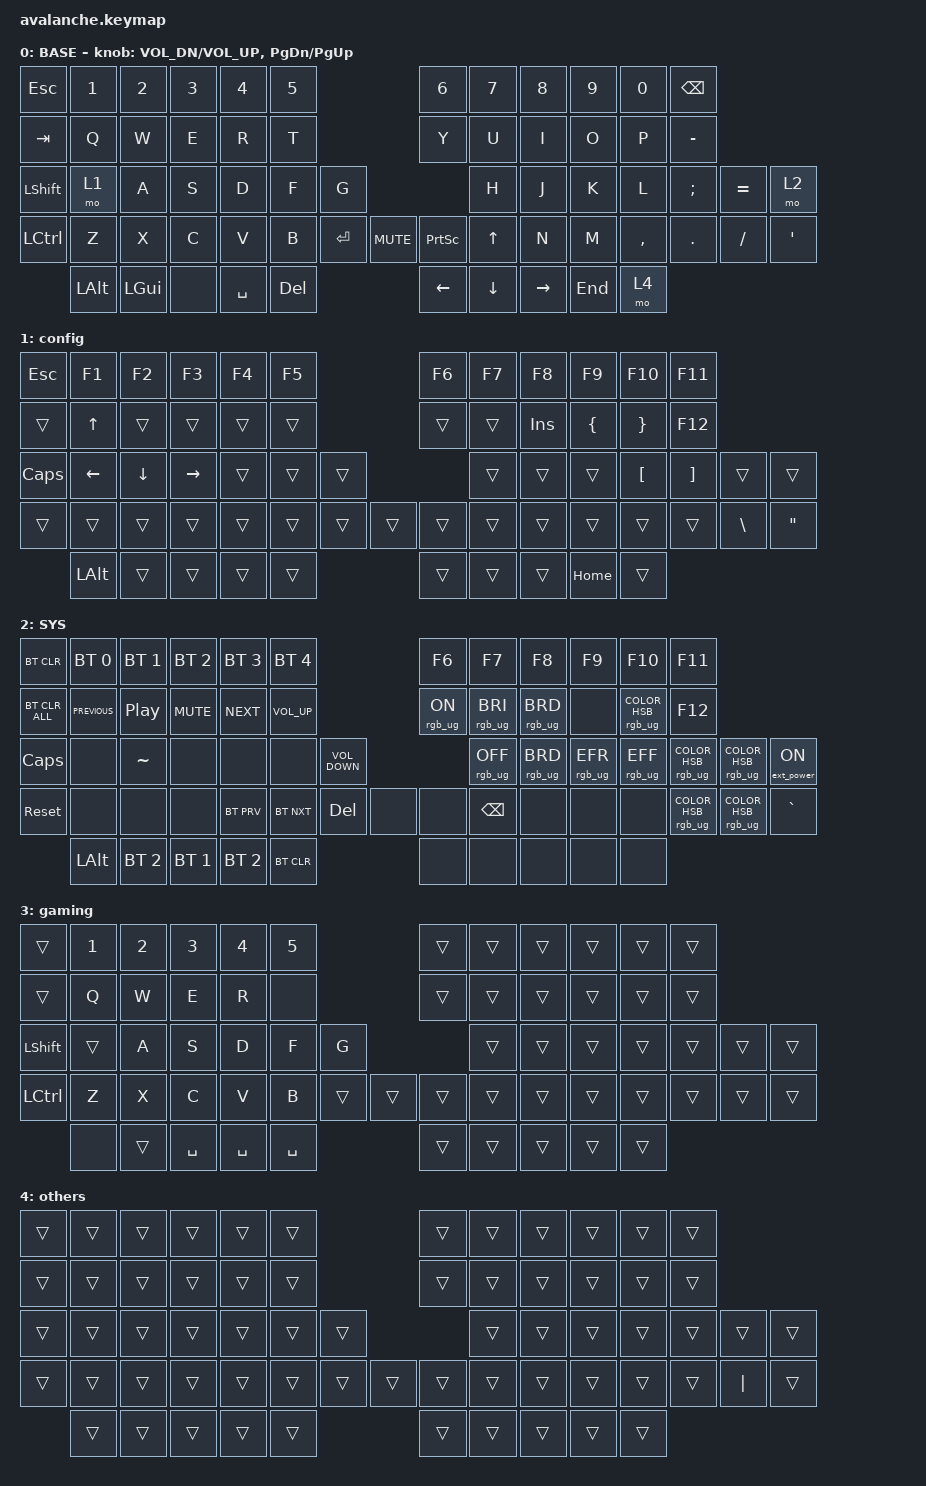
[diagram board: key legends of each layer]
#include <behaviors.dtsi>
#include <dt-bindings/zmk/bt.h>
#include <dt-bindings/zmk/ext_power.h>
#include <dt-bindings/zmk/keys.h>
#include <dt-bindings/zmk/rgb.h>

&lt {
    tapping-term-ms = <200>;
    quick-tap-ms = <100>;
};

&mt { tapping-term-ms = <200>; };

/ {
    behaviors {
        bhm: balanced_homerow_mods {
            compatible = "zmk,behavior-hold-tap";
            #binding-cells = <2>;
            tapping-term-ms = <200>;

            // <---[[moderate duration]]

            quick-tap-ms = <0>;
            flavor = "balanced";
            bindings = <&kp>, <&kp>;
        };

        hm: homerow_mods {
            compatible = "zmk,behavior-hold-tap";
            #binding-cells = <2>;
            tapping-term-ms = <400>;
            flavor = "tap-preferred";
            bindings = <&kp>, <&kp>;

            quick-tap-ms = <200>;
        };
    };

    macros {
        macro_vim_save: vim_save {
            compatible = "zmk,behavior-macro";
            #binding-cells = <0>;
            wait-ms = <0>;
            tap-ms = <5>;
            bindings = <&kp ESCAPE &kp COLON &kp W &kp ENTER>;
            label = "VIM_SAVE";
        };

        macro_previous_folder: macro_previous_folder {
            compatible = "zmk,behavior-macro";
            #binding-cells = <0>;
            wait-ms = <0>;
            tap-ms = <5>;
            bindings = <&kp DOT &kp DOT &kp FSLH>;
            label = "MACRO_PREVIOUS_FOLDER";
        };

        macro_vim_replace: replace {
            compatible = "zmk,behavior-macro";
            #binding-cells = <0>;
            bindings = <&kp ESC &kp COLON &kp PERCENT &kp S &kp SLASH>;
            label = "REPLACE";
        };

        macro_paste: paste {
            compatible = "zmk,behavior-macro";
            #binding-cells = <0>;
            bindings = <&kp LEFT_GUI &kp V>;
            label = "PASTE";
        };

        clear_highlight: clear_highlight {
            compatible = "zmk,behavior-macro";
            #binding-cells = <0>;
            bindings = <&kp ESCAPE &kp COLON &kp N &kp O &kp N &kp ENTER>;
            label = "CLEAR_HIGHLIGHT";
        };
    };

    combos {
        compatible = "zmk,combos";

        escR {
            bindings = <&kp ESCAPE>;
            key-positions = <11 10>;
        };

        altF4 {
            bindings = <&kp LA(F4)>;
            key-positions = <54 4>;
        };

        layer0 {
            bindings = <&tog 0>;
            key-positions = <24 0>;
        };

        layer1 {
            bindings = <&tog 1>;
            key-positions = <24 1>;
        };

        gamer {
            bindings = <&tog 3>;
            key-positions = <24 3>;
        };

        layer2 {
            bindings = <&tog 2>;
            key-positions = <24 2>;
        };
    };

    keymap {
        compatible = "zmk,keymap";

        BASE {
            // ---------------------------------------------------------------------------------------------------------------------------------------------
            //            |  `  |  1  |  2  |  3  |  4  |  5  |                                             |  6  |  7  |  8  |  9  |  0  |  '  |
            //            | TAB |  Q  |  W  |  E  |  R  |  T  |                                             |  Y  |  U  |  I  |  O  |  P  |  [  | 
            //    |  ESC  |CTRL |  A  |  S  |  D  |  F  |  G  |                                             |  H  |  J  |  K  |  L  |  ;  |  '  |  \   |
            //            |SHIFT|  Z  |  X  |  C  |  V  |  B  |  DEL  |                              | BSPC |  N  |  M  |  ,  |  .  |  /  |  -  |
            //                        | GUI | ALT |SPACE|RAISE| ENTER |                              | ENTER|  =  |SPACE|MO(1)|MO(2)|
            // ---------------------------------------------------------------------------------------------------------------------------------------------

            bindings = <
&kp ESC           &kp NUMBER_1  &kp NUMBER_2  &kp NUMBER_3  &kp NUMBER_4  &kp N5                             &kp NUMBER_6     &kp N7        &kp N8     &kp N9   &kp N0     &kp BACKSPACE
&kp TAB           &kp Q         &kp W         &kp E         &kp R         &kp T                              &kp Y            &kp U         &kp I      &kp O    &kp P      &kp MINUS
&kp LEFT_SHIFT    &mo 1         &kp A         &kp S         &kp D         &kp F       &kp G                                   &kp H         &kp J      &kp K    &kp L      &kp SEMI       &kp EQUAL  &mo 2
&kp LEFT_CONTROL  &kp Z         &kp X         &kp C         &kp V         &kp B       &kp ENTER  &kp K_MUTE  &kp PRINTSCREEN  &kp UP_ARROW  &kp N      &kp M    &kp COMMA  &kp PERIOD     &kp FSLH   &kp APOS
                  &kp LEFT_ALT  &kp LEFT_GUI  &none         &kp SPACE     &kp DELETE                         &kp LEFT         &kp DOWN      &kp RIGHT  &kp END  &mo 4
            >;

            sensor-bindings =
                <&inc_dec_kp C_VOL_DN C_VOL_UP>,
                <&inc_dec_kp PAGE_DOWN PAGE_UP>;
        };

        config {
            bindings = <
&kp ESCAPE    &kp F1          &kp F2    &kp F3     &kp F4  &kp F5                  &kp F6  &kp F7  &kp F8      &kp F9          &kp F10           &kp F11
&trans        &kp UP_ARROW    &trans    &trans     &trans  &trans                  &trans  &trans  &kp INSERT  &kp LEFT_BRACE  &kp RIGHT_BRACE   &kp F12
&kp CAPSLOCK  &kp LEFT_ARROW  &kp DOWN  &kp RIGHT  &trans  &trans  &trans                  &trans  &trans      &trans          &kp LEFT_BRACKET  &kp RIGHT_BRACKET  &trans         &trans
&trans        &trans          &trans    &trans     &trans  &trans  &trans  &trans  &trans  &trans  &trans      &trans          &trans            &trans             &kp BACKSLASH  &kp DOUBLE_QUOTES
              &kp LEFT_ALT    &trans    &trans     &trans  &trans                  &trans  &trans  &trans      &kp HOME        &trans
            >;
        };

        SYS {
            bindings = <
&bt BT_CLR      &bt BT_SEL 0    &bt BT_SEL 1      &bt BT_SEL 2  &bt BT_SEL 3  &bt BT_SEL 4                               &kp F6          &kp F7           &kp F8           &kp F9           &kp F10                            &kp F11
&bt BT_CLR_ALL  &kp C_PREVIOUS  &kp C_PLAY_PAUSE  &kp K_MUTE    &kp C_NEXT    &kp C_VOLUME_UP                            &rgb_ug RGB_ON  &rgb_ug RGB_BRI  &rgb_ug RGB_BRD  &none            &rgb_ug RGB_COLOR_HSB(243,100,50)  &kp F12
&kp CAPSLOCK    &none           &kp TILDE         &none         &none         &none            &kp C_VOLUME_DOWN                         &rgb_ug RGB_OFF  &rgb_ug RGB_BRD  &rgb_ug RGB_EFR  &rgb_ug RGB_EFF                    &rgb_ug RGB_COLOR_HSB(101,100,51)  &rgb_ug RGB_COLOR_HSB(0,100,50)   &ext_power EP_ON
&sys_reset      &none           &none             &none         &bt BT_PRV    &bt BT_NXT       &kp DEL            &none  &none           &kp BACKSPACE    &none            &none            &none                              &rgb_ug RGB_COLOR_HSB(0,0,100)     &rgb_ug RGB_COLOR_HSB(60,100,50)  &kp GRAVE
                &kp LEFT_ALT    &bt BT_SEL 2      &bt BT_SEL 1  &bt BT_SEL 2  &bt BT_CLR                                 &none           &none            &none            &none            &none
            >;
        };

        gaming {
            bindings = <
&trans            &kp NUMBER_1  &kp NUMBER_2  &kp NUMBER_3  &kp NUMBER_4  &kp N5                     &trans  &trans  &trans  &trans  &trans  &trans
&trans            &kp Q         &kp W         &kp E         &kp R         &none                      &trans  &trans  &trans  &trans  &trans  &trans
&kp LEFT_SHIFT    &trans        &kp A         &kp S         &kp D         &kp F      &kp G                   &trans  &trans  &trans  &trans  &trans  &trans  &trans
&kp LEFT_CONTROL  &kp Z         &kp X         &kp C         &kp V         &kp B      &trans  &trans  &trans  &trans  &trans  &trans  &trans  &trans  &trans  &trans
                  &none         &trans        &kp SPACE     &kp SPACE     &kp SPACE                  &trans  &trans  &trans  &trans  &trans
            >;
        };

        others {
            bindings = <
&trans  &trans  &trans  &trans  &trans  &trans                  &trans  &trans  &trans  &trans  &trans  &trans
&trans  &trans  &trans  &trans  &trans  &trans                  &trans  &trans  &trans  &trans  &trans  &trans
&trans  &trans  &trans  &trans  &trans  &trans  &trans                  &trans  &trans  &trans  &trans  &trans  &trans    &trans
&trans  &trans  &trans  &trans  &trans  &trans  &trans  &trans  &trans  &trans  &trans  &trans  &trans  &trans  &kp PIPE  &trans
        &trans  &trans  &trans  &trans  &trans                  &trans  &trans  &trans  &trans  &trans
            >;
        };
    };
};
